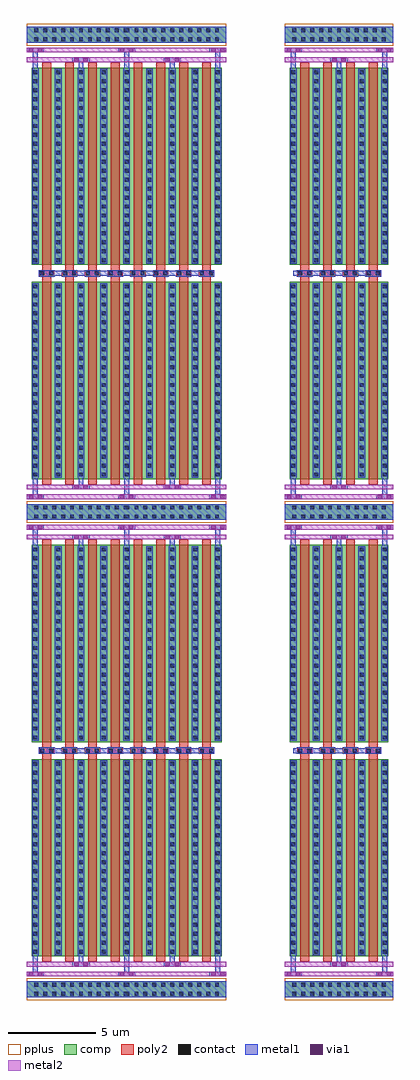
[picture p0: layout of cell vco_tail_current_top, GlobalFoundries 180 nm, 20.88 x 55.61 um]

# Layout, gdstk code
from math import pi, radians
import gdstk
lib = gdstk.Library(unit=1e-6, precision=5e-09)
def R(c, l, rs):  # rectangles x0, y0, x1, y1
    for r in rs: c.add(gdstk.rectangle(r[:2], r[2:], *l))
def A(c, l, x, y, w, h, nx, ny, dx, dy):  # array of equal rectangles
    R(c, l, [(x+i*dx, y+j*dy, x+i*dx+w, y+j*dy+h) for i in range(nx) for j in range(ny)])
comp = (22, 0)
poly2 = (30, 0)
pplus = (31, 0)
contact = (33, 0)
metal1 = (34, 0)
via1 = (35, 0)
metal2 = (36, 0)

vco_tail_current_ncell_1 = lib.new_cell('vco_tail_current_ncell_1$1$1$1')
R(vco_tail_current_ncell_1, comp, [(0,0.3,0.42,11.55), (0.42,0.3,1.3,11.55), (1.3,0.3,1.72,11.55)])
R(vco_tail_current_ncell_1, poly2, [(0.61,0,1.11,11.85)])
A(vco_tail_current_ncell_1, contact, 0.1, 0.46, 0.22, 0.22, 1, 22, 0, 0.51)
A(vco_tail_current_ncell_1, contact, 1.4, 0.46, 0.22, 0.22, 1, 22, 0, 0.51)
R(vco_tail_current_ncell_1, metal1, [(0.02,0.38,0.4,11.47), (1.32,0.38,1.7,11.47)])

vco_tail_current_ncell_4 = lib.new_cell('vco_tail_current_ncell_4$1$1')
A(vco_tail_current_ncell_4, poly2, 0.425, 11.85, 0.87, 0.36, 4, 1, 1.3, 0)
R(vco_tail_current_ncell_4, contact, [(0.495,11.92,0.715,12.14), (1.005,11.92,1.225,12.14), (1.795,11.92,2.015,12.14), (2.305,11.92,2.525,12.14), (3.095,11.92,3.315,12.14), (3.605,11.92,3.825,12.14), (4.395,11.92,4.615,12.14), (4.905,11.92,5.125,12.14)])
A(vco_tail_current_ncell_4, metal1, 0.415, 11.84, 0.89, 0.38, 4, 1, 1.3, 0)
vco_tail_current_ncell_4.add(gdstk.Reference(vco_tail_current_ncell_1, (0,0)))
vco_tail_current_ncell_4.add(gdstk.Reference(vco_tail_current_ncell_1, (1.3,0)))
vco_tail_current_ncell_4.add(gdstk.Reference(vco_tail_current_ncell_1, (2.6,0)))
vco_tail_current_ncell_4.add(gdstk.Reference(vco_tail_current_ncell_1, (3.9,0)))

c_vco_tail_current_ncell_4 = lib.new_cell('vco_tail_current_ncell_4_2$1')
A(c_vco_tail_current_ncell_4, contact, 0.43, 0.25, 0.22, 0.22, 11, 2, 0.51, 0.51)
A(c_vco_tail_current_ncell_4, contact, 0.43, 27.44, 0.22, 0.22, 11, 2, 0.51, 0.51)
R(c_vco_tail_current_ncell_4, via1, [(0.1,1.35,0.36,1.61), (0.62,1.35,0.88,1.61), (5.3,1.35,5.56,1.61), (5.82,1.35,6.08,1.61), (2.7,1.91,2.96,2.17), (3.22,1.91,3.48,2.17), (2.7,26.25,2.96,26.51), (3.22,26.25,3.48,26.51), (0.1,26.81,0.36,27.07), (0.62,26.81,0.88,27.07), (5.3,26.81,5.56,27.07), (5.82,26.81,6.08,27.07)])
c_vco_tail_current_ncell_4.add(gdstk.FlexPath([(2.6,26.38),(3.58,26.38)], 0.28, ends="flush", simple_path=True, layer=34, datatype=0))  # metal1
c_vco_tail_current_ncell_4.add(gdstk.FlexPath([(3.09,25.86),(3.09,26.24)], 0.28, ends="flush", simple_path=True, layer=34, datatype=0))  # metal1
c_vco_tail_current_ncell_4.add(gdstk.FlexPath([(5.2,26.94),(6.18,26.94)], 0.28, ends="flush", simple_path=True, layer=34, datatype=0))  # metal1
c_vco_tail_current_ncell_4.add(gdstk.FlexPath([(5.69,25.86),(5.69,26.8)], 0.28, ends="flush", simple_path=True, layer=34, datatype=0))  # metal1
c_vco_tail_current_ncell_4.add(gdstk.FlexPath([(0,26.94),(0.98,26.94)], 0.28, ends="flush", simple_path=True, layer=34, datatype=0))  # metal1
c_vco_tail_current_ncell_4.add(gdstk.FlexPath([(0.49,25.86),(0.49,26.8)], 0.28, ends="flush", simple_path=True, layer=34, datatype=0))  # metal1
c_vco_tail_current_ncell_4.add(gdstk.FlexPath([(2.6,2.04),(3.58,2.04)], 0.28, ends="flush", simple_path=True, layer=34, datatype=0))  # metal1
c_vco_tail_current_ncell_4.add(gdstk.FlexPath([(3.09,2.56),(3.09,2.18)], 0.28, ends="flush", simple_path=True, layer=34, datatype=0))  # metal1
c_vco_tail_current_ncell_4.add(gdstk.FlexPath([(5.2,1.48),(6.18,1.48)], 0.28, ends="flush", simple_path=True, layer=34, datatype=0))  # metal1
c_vco_tail_current_ncell_4.add(gdstk.FlexPath([(5.69,2.56),(5.69,1.62)], 0.28, ends="flush", simple_path=True, layer=34, datatype=0))  # metal1
c_vco_tail_current_ncell_4.add(gdstk.FlexPath([(0,1.48),(0.98,1.48)], 0.28, ends="flush", simple_path=True, layer=34, datatype=0))  # metal1
c_vco_tail_current_ncell_4.add(gdstk.FlexPath([(0.49,2.56),(0.49,1.62)], 0.28, ends="flush", simple_path=True, layer=34, datatype=0))  # metal1
c_vco_tail_current_ncell_4.add(gdstk.FlexPath([(4.595,14.21),(0.49,14.21)], 0.28, ends="flush", simple_path=True, layer=34, datatype=0))  # metal1
c_vco_tail_current_ncell_4.add(gdstk.FlexPath([(0,27.805),(6.18,27.805)], 0.89, ends="flush", simple_path=True, layer=34, datatype=0))  # metal1
c_vco_tail_current_ncell_4.add(gdstk.FlexPath([(0,0.615),(6.18,0.615)], 0.89, ends="flush", simple_path=True, layer=34, datatype=0))  # metal1
c_vco_tail_current_ncell_4.add(gdstk.FlexPath([(0,27.805),(6.18,27.805)], 0.89, ends="flush", simple_path=True, layer=22, datatype=0))  # comp
c_vco_tail_current_ncell_4.add(gdstk.FlexPath([(0,0.615),(6.18,0.615)], 0.89, ends="flush", simple_path=True, layer=22, datatype=0))  # comp
c_vco_tail_current_ncell_4.add(gdstk.FlexPath([(0,26.38),(6.18,26.38)], 0.28, ends="flush", simple_path=True, layer=36, datatype=0))  # metal2
c_vco_tail_current_ncell_4.add(gdstk.FlexPath([(0,26.94),(6.18,26.94)], 0.28, ends="flush", simple_path=True, layer=36, datatype=0))  # metal2
c_vco_tail_current_ncell_4.add(gdstk.FlexPath([(0,2.04),(6.18,2.04)], 0.28, ends="flush", simple_path=True, layer=36, datatype=0))  # metal2
c_vco_tail_current_ncell_4.add(gdstk.FlexPath([(0,1.48),(6.18,1.48)], 0.28, ends="flush", simple_path=True, layer=36, datatype=0))  # metal2
c_vco_tail_current_ncell_4.add(gdstk.FlexPath([(0,27.805),(6.18,27.805)], 1.23, ends="flush", simple_path=True, layer=31, datatype=0))  # pplus
c_vco_tail_current_ncell_4.add(gdstk.FlexPath([(0,0.615),(6.18,0.615)], 1.23, ends="flush", simple_path=True, layer=31, datatype=0))  # pplus
c_vco_tail_current_ncell_4.add(gdstk.Reference(vco_tail_current_ncell_4, (0.28,2.18)))
c_vco_tail_current_ncell_4.add(gdstk.Reference(vco_tail_current_ncell_4, (0.28,26.24), x_reflection=True))

c_vco_tail_current_ncell_4_ = lib.new_cell('vco_tail_current_ncell_4_4')
c_vco_tail_current_ncell_4_.add(gdstk.Reference(c_vco_tail_current_ncell_4, (0,27.19)))
c_vco_tail_current_ncell_4_.add(gdstk.Reference(c_vco_tail_current_ncell_4, (0,0)))

vco_tail_current_top = lib.new_cell('vco_tail_current_top')
vco_tail_current_top.add(gdstk.Reference(c_vco_tail_current_ncell_4_, (15.1,1.785)))
vco_tail_current_top.add(gdstk.Reference(c_vco_tail_current_ncell_4_, (16.08,57.395), rotation=pi))
vco_tail_current_top.add(gdstk.Reference(c_vco_tail_current_ncell_4_, (24.6,1.785)))

lib.write_gds('vco_tail_current_top.gds')
